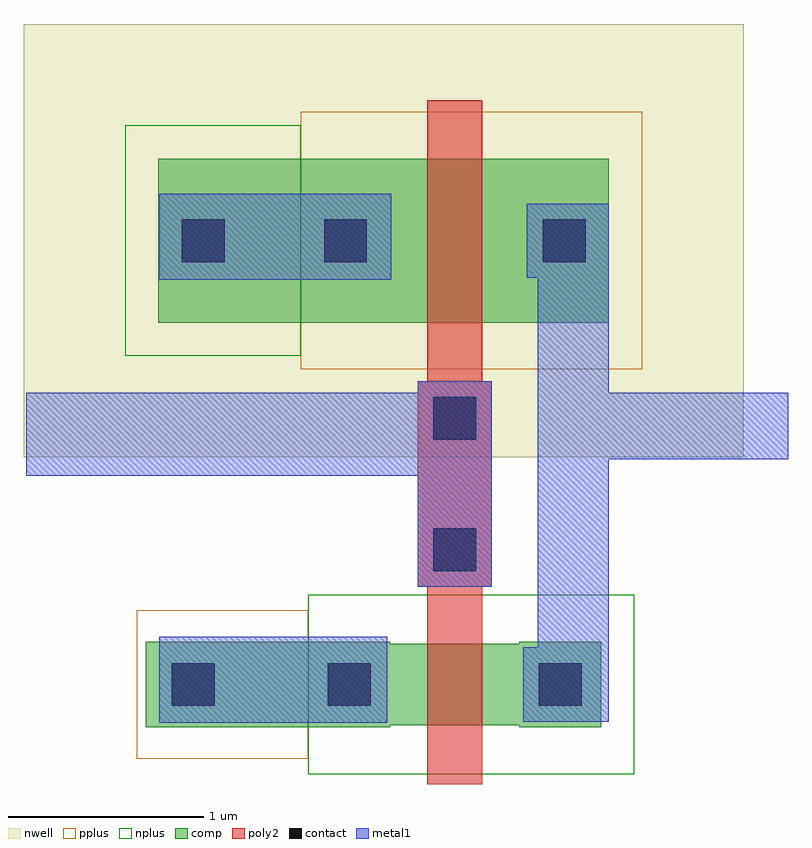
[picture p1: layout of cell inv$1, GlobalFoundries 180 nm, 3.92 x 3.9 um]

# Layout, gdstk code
from math import pi, radians
import gdstk
lib = gdstk.Library(unit=1e-6, precision=5e-09)
def R(c, l, rs):  # rectangles x0, y0, x1, y1
    for r in rs: c.add(gdstk.rectangle(r[:2], r[2:], *l))
def P(c, l, *ps):  # polygons
    for p in ps: c.add(gdstk.Polygon(p, *l))
nwell = (21, 0)
comp = (22, 0)
poly2 = (30, 0)
pplus = (31, 0)
nplus = (32, 0)
contact = (33, 0)
metal1 = (34, 0)

pfet = lib.new_cell('pfet')
R(pfet, nwell, [(-1.725,-1.24,1.965,0.98)])
R(pfet, comp, [(-1.035,-0.55,-0.575,0.29), (-0.575,-0.55,0.085,0.29), (0.085,-0.55,0.545,0.29), (0.545,-0.55,1.275,0.29)])
R(pfet, poly2, [(-0.385,-0.85,-0.105,0.59), (-0.435,0.59,-0.055,0.97)])
R(pfet, pplus, [(-1.205,-0.79,0.545,0.53)])
R(pfet, nplus, [(0.545,-0.72,1.445,0.46)])
R(pfet, contact, [(-0.915,-0.24,-0.695,-0.02), (0.205,-0.24,0.425,-0.02), (0.935,-0.24,1.155,-0.02), (-0.355,0.67,-0.135,0.89)])
R(pfet, metal1, [(-0.995,-0.32,-0.615,0.06), (0.125,-0.32,0.505,0.06), (0.855,-0.32,1.235,0.06), (-0.435,0.59,-0.055,0.97)])

nfet_1 = lib.new_cell('nfet$1')
R(nfet_1, comp, [(-0.995,0.54,-0.575,0.98), (0.085,0.54,0.505,0.98), (0.505,0.54,1.34,0.98), (-0.575,0.55,0.085,0.97)])
R(nfet_1, poly2, [(-0.385,0.25,-0.105,1.27), (-0.425,1.27,-0.065,1.63)])
P(nfet_1, pplus, [(0.505,0.38),(0.505,1.14),(1.385,1.14),(1.385,0.565),(1.385,0.38)])
R(nfet_1, nplus, [(-1.165,0.3,0.505,1.22)])
R(nfet_1, contact, [(-0.895,0.65,-0.675,0.87), (0.185,0.65,0.405,0.87), (0.985,0.65,1.205,0.87), (-0.355,1.34,-0.135,1.56)])
R(nfet_1, metal1, [(-0.975,0.57,-0.595,0.95), (0.105,0.57,0.485,0.95), (0.815,0.57,1.265,0.95), (-0.435,1.26,-0.055,1.64)])

inv_1 = lib.new_cell('inv$1')
R(inv_1, poly2, [(0.93,0.685,1.31,1.74)])
R(inv_1, metal1, [(-0.395,-0.01,0.775,0.43), (1.545,-0.005,1.91,2.65), (0.93,0.685,1.31,1.705), (-1.075,1.255,1.305,1.68), (1.545,1.34,2.83,1.68), (-0.395,2.26,0.795,2.7)])
P(inv_1, metal1, [(0.93,1.705),(0.93,1.705),(1.31,1.705),(1.31,1.705)])
inv_1.add(gdstk.Reference(pfet, (0.875,2.33), rotation=pi))
inv_1.add(gdstk.Reference(nfet_1, (0.875,-0.575), rotation=pi, x_reflection=True))

lib.write_gds('inv_1.gds')
